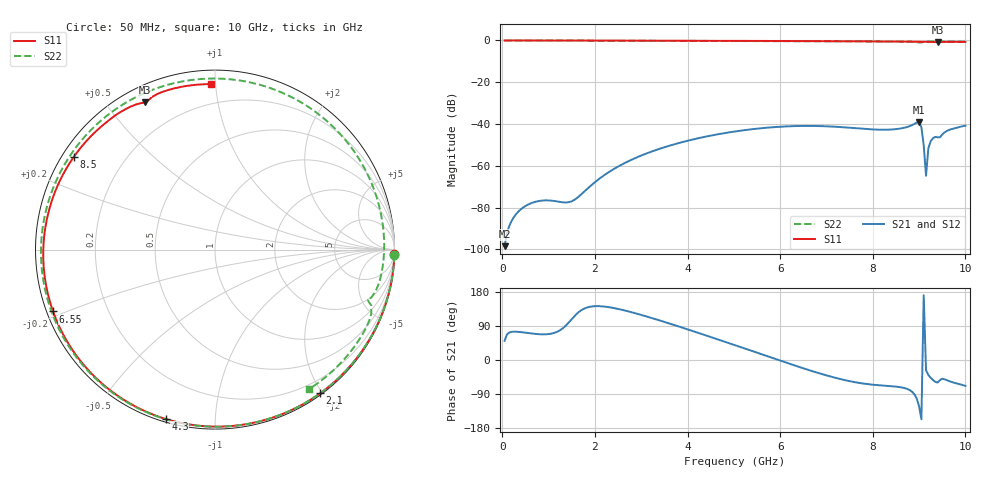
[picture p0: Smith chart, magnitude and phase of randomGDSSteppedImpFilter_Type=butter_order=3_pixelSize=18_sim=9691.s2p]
! freq	dB(S11)	phase(S11)	dB(S12)	phase(S12)
!  dB(S21)	phase(S21)	dB(S22)	phase(S22)
!S-par simulation data
#  GHz  S  DB  R 50
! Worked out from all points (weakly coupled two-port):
!   200 points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, 50 MHz to 10 GHz, reference 50 ohm
!   highest |S21| = -39.12 dB at 9 GHz (marker M1); lowest = -98.4 dB at 50 MHz (marker M2)
!   lowest |S11| = -0.8 dB at 9.4 GHz (marker M3), VSWR 20.55, Z = 3.4 + j31.5 ohm
!   |S11| at or under -10 dB: nowhere
!   |S22| runs from -1.0 to 0.0 dB; largest |S21 - S12| = 0
!   S11 on the Smith chart (normalised r, x): 50 MHz: 0, -87; 2.1 GHz: 0.02, -1.97; 4.3 GHz: 0.01, -0.75; 6.55 GHz: 0.02, -0.18; 8.5 GHz: 0.03, +0.30; 10 GHz: 0.08, +0.97
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0.05  -0.00 -1.3  -98.42 50.6  -98.42 50.6  -0.00 -1.8
0.85  -0.03 -22.2  -76.63 67.7  -76.63 67.7  -0.04 -30.8
1.45  -0.05 -37.5  -77.31 101.1  -77.31 101.1  -0.07 -52.3
1.75  -0.06 -45.1  -72.72 134.4  -72.72 134.4  -0.08 -62.9
2.1  -0.07 -53.8  -66.08 142.1  -66.08 142.1  -0.10 -75.3
3.4  -0.11 -85.3  -51.81 104.3  -51.81 104.3  -0.16 -121.6
4.3  -0.15 -106.3  -46.44 68.9  -46.44 68.9  -0.22 -155.2
5.05  -0.19 -123.6  -43.45 38.0  -43.45 38.0  -0.28 174.4
5.75  -0.24 -139.9  -41.67 8.8  -41.67 8.8  -0.34 143.0
6.55  -0.30 -159.1  -40.88 -23.9  -40.88 -23.9  -0.40 103.5
6.7  -0.32 -162.8  -40.89 -29.7  -40.89 -29.7  -0.41 95.7
7.4  -0.39 179.0  -41.58 -53.1  -41.58 -53.1  -0.44 58.7
8.35  -0.51 151.4  -42.67 -68.6  -42.67 -68.6  -0.49 10.6
8.5  -0.53 146.6  -42.43 -70.2  -42.43 -70.2  -0.50 3.4
9  -0.61 129.8  -39.12 -122.5  -39.12 -122.5  -0.97 -18.3
9.05  -0.61 128.0  -41.52 -156.5  -41.52 -156.5  -0.96 -18.3
9.1  -0.62 126.1  -50.11 170.8  -50.11 170.8  -0.68 -19.7
9.15  -0.63 124.2  -64.72 -27.1  -64.72 -27.1  -0.53 -22.3
9.2  -0.65 122.4  -51.55 -39.4  -51.55 -39.4  -0.48 -24.9
9.3  -0.72 118.6  -46.76 -52.8  -46.76 -52.8  -0.47 -29.5
9.4  -0.85 115.3  -46.32 -59.5  -46.32 -59.5  -0.48 -33.7
10  -0.70 91.6  -40.78 -68.2  -40.78 -68.2  -0.57 -56.1
